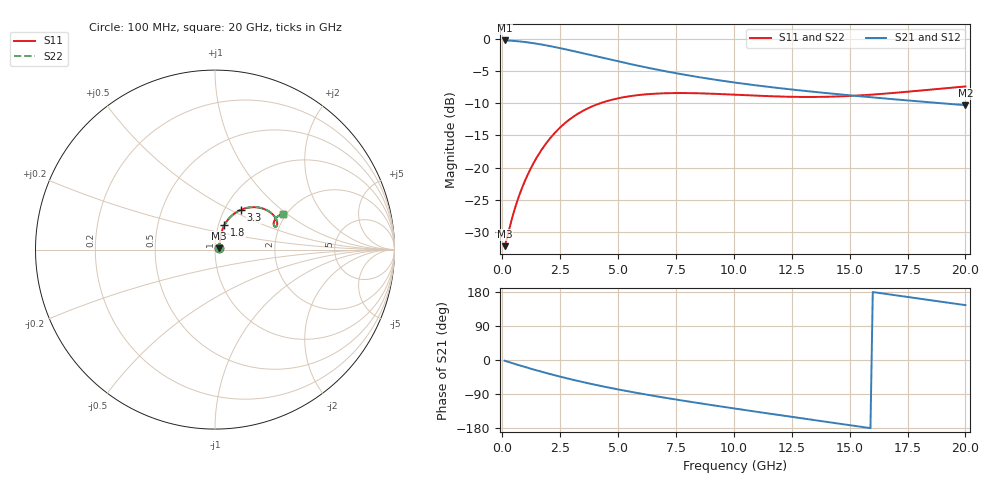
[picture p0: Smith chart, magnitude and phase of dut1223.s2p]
! Touchstone file exported from HFSS 2024.1.0
!  File:  C:/UserFiles/LocalFiles/RDL_TSV_Batchsim/temp_RDL_TSV_1223_1780262564.aedt
!  Generated:  05:38:10 AM Jun  1, 2026
!  Design:  RDL_TSV
!  Project:  temp_RDL_TSV_1223_1780262564
!  Setup:  Setup1
!  Solution:  Sweep
! Variables:
!  dtsv = 9.43um
!  hbump = 3um
!  htsv = 69.91um
!  ldown = 451.24um
!  lrdl = 434.58um
!  p = 40
!  p1 = 57.88um
!  rhole = 10um
!  subl = 3092.04um
!  t = 450um
!  tdown = 2.11um
!  trdl = 4.86um
!  viad = 10um
!  wdown = 20.21um
!  wrdl = 10.66um
!  xbump = 18um
# GHz S MA R 50.000000
! Terminal data exported
! Port[1] = TM1_1_T1
! Port[2] = TM1_4_T1
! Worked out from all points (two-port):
!   200 points, 100 MHz to 20 GHz, reference 50 ohm
!   highest |S21| = -0.21 dB at 100 MHz (marker M1); lowest = -10.3 dB at 20 GHz (marker M2)
!   |S21| within 3 dB of the highest: start of sweep to 4.692 GHz
!   lowest |S11| = -32.2 dB at 100 MHz (marker M3), VSWR 1.05, Z = 52.4 + j0.805 ohm
!   |S11| at or under -10 dB: start of sweep to 4.217 GHz
!   |S22| runs from -32.2 to -7.4 dB; largest |S21 - S12| = 9.5e-15
!   S11 on the Smith chart (normalised r, x): 100 MHz: 1.05, +0.02; 1.8 GHz: 1.07, +0.30; 3.3 GHz: 1.19, +0.57; 20 GHz: 1.92, +0.94
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0.1  0.02445 18.3  0.9765 -1.9  0.9765 -1.9  0.02445 18.3
! Gamma 0 0 0 0
! Port Impedance 50 0 50 0
0.5  0.04522 55.2  0.9684 -9.6  0.9684 -9.6  0.04522 55.2
0.7  0.05854 61.9  0.9616 -13.3  0.9616 -13.3  0.05854 62.0
0.9  0.0729 65.9  0.9532 -17.0  0.9532 -17.0  0.0729 66.0
1.3  0.1042 69.4  0.9325 -24.2  0.9325 -24.2  0.1042 69.4
1.8  0.1464 69.0  0.9009 -32.7  0.9009 -32.7  0.1465 69.0
2.1  0.1721 67.3  0.8799 -37.6  0.8799 -37.6  0.1722 67.4
2.5  0.2055 64.3  0.8505 -44.0  0.8505 -44.0  0.2056 64.3
3.3  0.2648 56.9  0.7901 -55.8  0.7901 -55.8  0.265 56.9
3.5  0.2776 55.0  0.7752 -58.5  0.7752 -58.5  0.2778 55.0
4.2  0.3155 48.5  0.7247 -67.8  0.7247 -67.8  0.3157 48.6
5.1  0.3491 41.1  0.6654 -78.8  0.6654 -78.8  0.3495 41.2
5.9  0.3673 35.6  0.6189 -87.8  0.6189 -87.8  0.3677 35.7
6.8  0.3777 30.5  0.5736 -97.3  0.5736 -97.3  0.3782 30.6
8.4  0.3791 24.3  0.509 -113.0  0.509 -113.0  0.3797 24.3
10.1  0.369 21.1  0.4577 -128.7  0.4577 -128.7  0.3698 21.1
11.7  0.3588 20.7  0.4208 -143.0  0.4208 -143.0  0.3595 20.8
13.4  0.3547 22.4  0.3897 -157.9  0.3897 -157.9  0.3554 22.5
15  0.3611 24.9  0.3653 -172.0  0.3653 -172.0  0.3618 24.9
16.7  0.3785 27.0  0.3429 173.2  0.3429 173.2  0.3792 27.1
18.4  0.4032 28.0  0.3229 158.5  0.3229 158.5  0.4038 28.0
20  0.4281 27.7  0.306 144.8  0.306 144.8  0.4288 27.7
